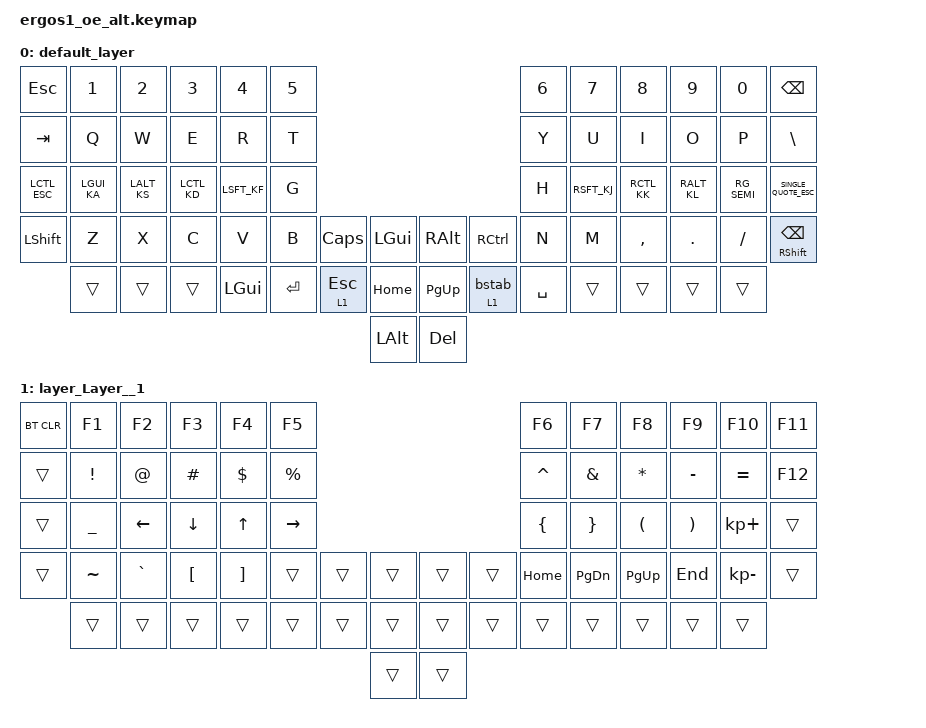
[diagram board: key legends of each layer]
/*
 * Copyright (c) 2020 The ZMK Contributors
 *
 * SPDX-License-Identifier: MIT
 */
/* THIS FILE WAS GENERATED!
 *
 * This file was generated automatically. You may or may not want to
 * edit it directly.
 */

#include <behaviors.dtsi>
#include <dt-bindings/zmk/keys.h>
#include <dt-bindings/zmk/bt.h>

#define SINGLE_QUOTE_ESC  mt SINGLE_QUOTE ESC
#define LCTL_ESC  mt LCTRL ESC
#define LGUI_KA   am LGUI A
#define LALT_KS   am LALT S
#define LCTL_KD   am LCTRL D
#define LSFT_KF   as LSHFT F
#define RSFT_KJ   as RSHFT J
#define RCTL_KK   am RCTRL K
#define RALT_KL   am RALT L
#define RG_SEMI   am RGUI SEMI

#define LT1_ESC lt 1 ESC

/**
 * Shifted keys, like `&kp lpar`, do not work consistently in Gnome with
 * Wayland. I believe the problem is that ZMK sends key press and release events
 * without any delays in between, and libinput is a bit sloppy with event
 * processing order. A workaround is to define a macro which includes
 * a deliberate delay between steps. But that requires defining a separate macro
 * for each shifted key you want to map.
 *
 * This defines a preprocessor macro to make it as easy as possible to define
 * a lot of ZMK macros for shifted keys.
 * https://github.com/zmkfirmware/zmk/issues/759
 * https://github.com/hallettj/Adv360-Pro-ZMK/blob/hallettj/config/adv360.keymap
 */
#define SHIFTED(sym, macro_label) s_##sym: s_##sym {\
        label = macro_label;\
        compatible = "zmk,behavior-macro";\
        wait-ms = <50>;\
        #binding-cells = <0>;\
        bindings\
            = <&macro_press &kp LSHFT>\
            , <&macro_press &kp sym>\
            , <&macro_release &kp LSHFT>\
            , <&macro_pause_for_release>\
            , <&macro_release &kp sym>\
            ;\
    }

/ {
    behaviors {
        am: alpha_mods {
            compatible = "zmk,behavior-hold-tap";
            label = "ALPHA_MT";
            #binding-cells = <2>;
            tapping-term-ms = <250>;
            quick-tap-ms = <150>;
            flavor = "tap-preferred";
            bindings = <&kp>, <&kp>;
        };
        as: alpha_shift {
            compatible = "zmk,behavior-hold-tap";
            label = "ALPHA_SFT";
            #binding-cells = <2>;
            tapping-term-ms = <200>;
            quick-tap-ms = <150>;
            flavor = "tap-preferred";
            bindings = <&kp>, <&kp>;
        };

        // Easy alt-tab with alt+backspace thumb using mod-morphs
        bstab: backspace_tab {
            compatible = "zmk,behavior-mod-morph";
            label = "BSPC_TAB";
            #binding-cells = <0>;
            bindings = <&kp BSPC>, <&kp TAB>;
            mods = <MOD_LALT>;
        };
        lt_bspc: layer_tap_backspace_tab {
            compatible = "zmk,behavior-hold-tap";
            label = "LT_BT";
            #binding-cells = <2>;
            tapping-term-ms = <150>;
            quick-tap-ms = <150>;
            flavor = "balanced";
            bindings = <&mo>, <&bstab>;
        };
    };
    
    macros {
        SHIFTED(EXCL, "shifted_excl");
        SHIFTED(AT, "shifted_at");
        SHIFTED(HASH, "shifted_hash");
        SHIFTED(DLLR, "shifted_dllr");
        SHIFTED(PRCNT, "shifted_prcnt");
        SHIFTED(CARET, "shifted_caret");
        SHIFTED(UNDER, "shifted_under");
        SHIFTED(QMARK, "shifted_qmark");
        SHIFTED(ASTRK, "shifted_astrk");
        SHIFTED(AMPS, "shifted_amps");
        SHIFTED(TILDE, "shifted_tilde");
        SHIFTED(LBRC, "shifted_lbrc");
        SHIFTED(RBRC, "shifted_rbrc");
        SHIFTED(LPAR, "shifted_lpar");
        SHIFTED(RPAR, "shifted_rpar");
        SHIFTED(LT, "shifted_lt");
        SHIFTED(GT, "shifted_gt");
        SHIFTED(PIPE, "shifted_pipe");
    };
    
    keymap {
        compatible = "zmk,keymap";

        default_layer {
            bindings = <
// ╭──────────┬─────────┬────────┬────────┬──────────┬───────╮                                                                 ╭────────┬───────┬─────────┬───────────┬─────────┬────────────────╮
     &kp ESC    &kp N1    &kp N2   &kp N3   &kp N4    &kp N5                                                                    &kp N6   &kp N7  &kp N8    &kp N9      &kp N0    &kp BSPC
// ├──────────┼─────────┼────────┼────────┼──────────┤───────┤                                                                 ├────────┼───────┼─────────┼───────────┼─────────┤────────────────┤
     &kp TAB    &kp Q     &kp W    &kp E    &kp R     &kp T                                                                     &kp Y    &kp U   &kp I     &kp O       &kp P     &kp BACKSLASH
// ├──────────┼─────────┼────────┼────────┼──────────┤───────┤                                                                 ├────────┼───────┼─────────┼───────────┼─────────┤────────────────┤
     &LCTL_ESC  &LGUI_KA &LALT_KS &LCTL_KD &LSFT_KF   &kp G                                                                     &kp H   &RSFT_KJ  &RCTL_KK   &RALT_KL    &RG_SEMI   &SINGLE_QUOTE_ESC
// ├──────────┼─────────┼────────┼────────┼──────────┤───────┤ ╭─────────┬─────────┬────────╮ ╭─────────┬──────────┬─────────╮ ├────────┼───────┼─────────┼───────────┼─────────┤────────────────┤
     &kp LSHFT  &kp Z    &kp X    &kp C    &kp V      &kp B               &kp CAPS  &kp LGUI   &kp RALT   &kp RCTRL             &kp N    &kp M   &kp COMMA  &kp PERIOD &kp SLASH &mt RSHIFT BSPC
// ├──────────┼─────────┼────────┼────────┼──────────┤───────┤ ├─────────┤─────────┤────────┤ ├─────────┤──────────┤─────────┤ ├────────┼───────┼─────────┼───────────┼─────────┤────────────────┤
                &trans   &trans   &trans   &kp LEFT_GUI         &kp ENTER &lt 1 ESC &kp HOME   &kp PG_UP  &lt_bspc 1 0  &kp SPACE        &trans  &trans     &trans     &trans
// ╰──────────┴─────────┴────────┴────────┴────────────┴───────╯                   ├────────┤ ├─────────┤                      ╰────────┴───────┴─────────┴───────────┴─────────┴────────────────╯
                                                                                    &kp LALT   &kp DEL
//                                                              ╰────────┴─────────┴────────╯ ╰─────────┴──────────┴─────────╯
            >;
        };

        layer_Layer__1 {
            bindings = <
// ╭──────────┬─────────┬────────┬────────┬──────────┬───────╮                                                                 ╭────────┬───────┬─────────┬───────────┬─────────┬────────────────╮
    &bt BT_CLR  &kp F1    &kp F2   &kp F3    &kp F4    &kp F5                                                                    &kp F6   &kp F7  &kp F8    &kp F9     &kp F10    &kp F11
// ├──────────┼─────────┼────────┼────────┼──────────┤───────┤                                                                 ├────────┼───────┼─────────┼───────────┼─────────┤────────────────┤
     &trans     &kp EXCL &kp AT   &kp HASH  &kp DLLR  &kp PRCNT                                                                &kp CARET &kp AMPS &kp ASTRK &kp MINUS  &kp EQUAL  &kp F12
// ├──────────┼─────────┼────────┼────────┼──────────┤───────┤                                                                 ├────────┼───────┼─────────┼───────────┼─────────┤────────────────┤
     &trans    &kp UNDER &kp LEFT &kp DOWN  &kp UP    &kp RIGHT                                                                &kp LBRC  &kp RBRC &kp LPAR  &kp RPAR   &kp KP_PLUS  &trans
// ├──────────┼─────────┼────────┼────────┼──────────┤───────┤ ╭─────────┬─────────┬────────╮ ╭─────────┬──────────┬─────────╮ ├────────┼───────┼─────────┼───────────┼─────────┤────────────────┤
     &trans   &kp TILDE &kp GRAVE &kp LBKT  &kp RBKT  &trans                 &trans    &trans     &trans   &trans              &kp HOME &kp PG_DN &kp PG_UP &kp END    &kp KP_MINUS &trans
// ├──────────┼─────────┼────────┼────────┼──────────┤───────┤ ├─────────┤─────────┤────────┤ ├─────────┤──────────┤─────────┤ ├────────┼───────┼─────────┼───────────┼─────────┤────────────────┤
                &trans     &trans  &trans    &trans               &trans    &trans     &trans     &trans   &trans    &trans     &trans    &trans   &trans     &trans
// ╰──────────┴─────────┴────────┴────────┴────────────┴───────╯                   ├────────┤ ├─────────┤                      ╰────────┴───────┴─────────┴───────────┴─────────┴────────────────╯
                                                                                      &trans     &trans
//                                                              ╰────────┴─────────┴────────╯ ╰─────────┴──────────┴─────────╯
            >;
        };
    };
};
